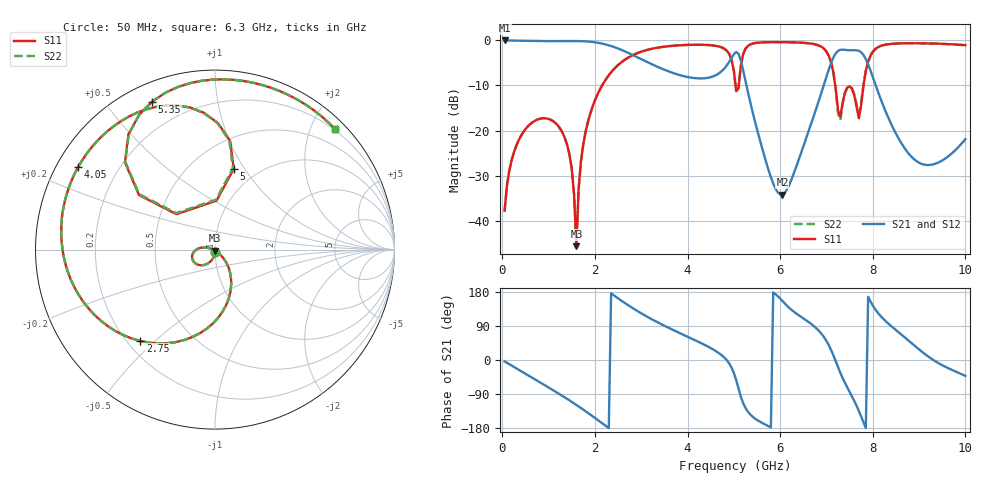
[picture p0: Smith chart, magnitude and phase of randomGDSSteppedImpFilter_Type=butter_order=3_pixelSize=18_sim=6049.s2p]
! freq	dB(S11)	phase(S11)	dB(S12)	phase(S12)
!  dB(S21)	phase(S21)	dB(S22)	phase(S22)
!S-par simulation data
#  GHz  S  DB  R 50
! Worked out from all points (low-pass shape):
!   200 points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, 50 MHz to 10 GHz, reference 50 ohm
!   highest |S21| = -0.04 dB at 50 MHz (marker M1); lowest = -34.2 dB at 6.05 GHz (marker M2)
!   |S21| within 3 dB of the highest: start of sweep to 2.771 GHz; 7.192 GHz to 7.782 GHz (589.4 MHz wide, 7.87 % of centre) (the widest 2 of 3)
!   lowest |S11| = -45.6 dB at 1.6 GHz (marker M3), VSWR 1.01, Z = 49.9 - j0.507 ohm
!   |S11| at or under -10 dB: start of sweep to 2.156 GHz; 5.036 GHz to 5.107 GHz (70.92 MHz wide, 1.4 % of centre); 7.19 GHz to 7.799 GHz (608.9 MHz wide, 8.12 % of centre)
!   |S22| runs from -45.0 to -0.4 dB; largest |S21 - S12| = 0
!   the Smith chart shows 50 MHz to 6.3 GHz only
!   S11 on the Smith chart (normalised r, x): 50 MHz: 1.00, -0.03; 2.75 GHz: 0.25, -0.45; 4.05 GHz: 0.06, +0.28; 5 GHz: 0.78, +0.90; 5.35 GHz: 0.08, +0.66; 6.3 GHz: 0.18, +2.40
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0.05  -37.74 -88.9  -0.04 -3.8  -0.04 -3.8  -37.74 -88.9
0.35  -22.21 -113.5  -0.09 -25.5  -0.09 -25.5  -22.21 -113.5
1.05  -17.62 -165.1  -0.19 -76.2  -0.19 -76.2  -17.62 -165.0
1.45  -25.29 167.4  -0.17 -106.5  -0.17 -106.5  -25.28 167.7
1.6  -45.58 -104.7  -0.17 -118.5  -0.17 -118.5  -45.04 -105.9
1.75  -22.94 -46.0  -0.22 -131.0  -0.22 -131.0  -22.94 -46.3
2.75  -3.65 -129.2  -2.94 142.0  -2.94 142.0  -3.65 -129.2
3.4  -1.56 -174.0  -6.09 96.6  -6.09 96.6  -1.56 -174.0
4.05  -1.01 148.8  -8.23 58.6  -8.23 58.6  -1.01 148.9
5  -6.70 76.9  -3.07 -34.1  -3.07 -34.1  -6.66 77.6
5.05  -11.28 88.1  -2.60 -53.0  -2.60 -53.0  -11.12 88.9
5.35  -0.95 113.0  -13.52 -143.1  -13.52 -143.1  -0.95 112.9
6.05  -0.42 61.3  -34.16 155.8  -34.16 155.8  -0.42 61.3
6.3  -0.47 45.0  -29.34 127.0  -29.34 127.0  -0.47 45.1
6.7  -0.78 14.1  -17.57 92.4  -17.57 92.4  -0.78 14.1
7.05  -3.43 -32.7  -6.47 39.2  -6.47 39.2  -3.46 -33.2
7.25  -15.51 -43.2  -2.36 -19.0  -2.36 -19.0  -16.15 -44.9
7.5  -10.19 6.7  -2.21 -84.2  -2.21 -84.2  -10.15 9.8
7.8  -9.92 70.3  -3.26 -164.6  -3.26 -164.6  -9.65 67.7
8.35  -0.85 -0.8  -17.46 94.5  -17.46 94.5  -0.85 -1.0
9.1  -0.68 -46.5  -27.51 18.1  -27.51 18.1  -0.68 -46.4
10  -1.09 -87.7  -21.89 -42.0  -21.89 -42.0  -1.09 -87.6
